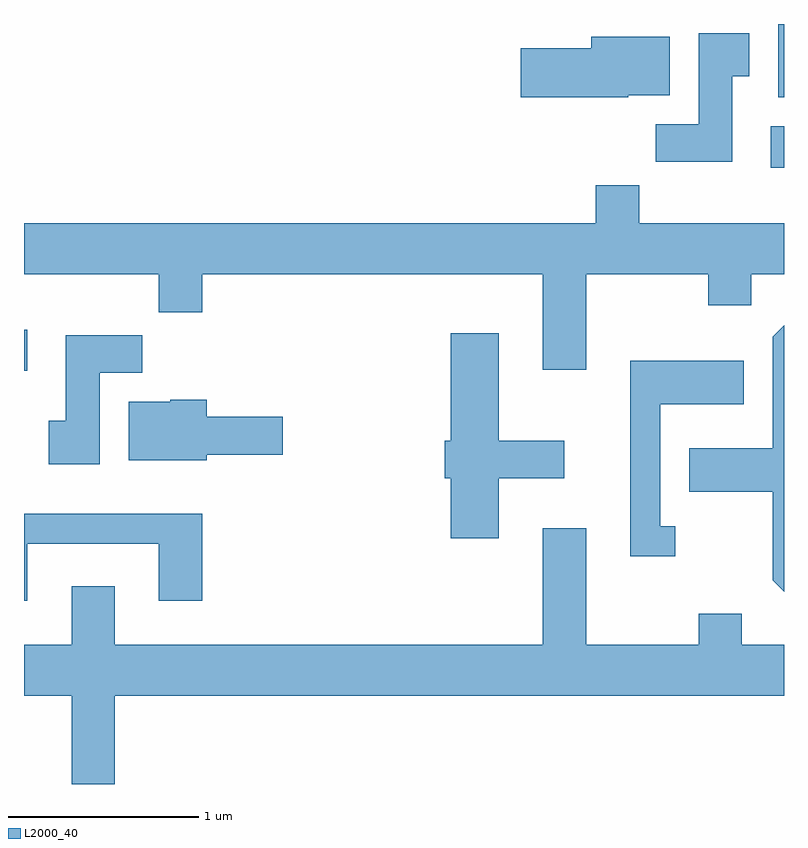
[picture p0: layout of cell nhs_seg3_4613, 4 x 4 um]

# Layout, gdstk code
import gdstk
lib = gdstk.Library(unit=1e-6, precision=1e-09)
def R(c, l, rs):  # rectangles x0, y0, x1, y1
    for r in rs: c.add(gdstk.rectangle(r[:2], r[2:], *l))
def P(c, l, *ps):  # polygons
    for p in ps: c.add(gdstk.Polygon(p, *l))
L2000_40 = (2000, 40)

nhs_seg3_4613 = lib.new_cell('nhs_seg3_4613')
R(nhs_seg3_4613, L2000_40, [(319.611,1232.066,319.629,1232.284), (323.541,1233.136,323.611,1233.354), (323.581,1233.506,323.611,1233.892)])
P(nhs_seg3_4613, L2000_40, [(323.339,1233.616),(323.429,1233.616),(323.429,1233.844),(323.161,1233.844),(323.161,1233.364),(322.936,1233.364),(322.936,1233.166),(323.339,1233.166)],
  [(322.79,1233.516),(323.009,1233.516),(323.009,1233.824),(322.596,1233.824),(322.596,1233.764),(322.226,1233.764),(322.226,1233.506),(322.79,1233.506)],
  [(322.569,1232.576),(323.211,1232.576),(323.211,1232.411),(323.439,1232.411),(323.439,1232.576),(323.611,1232.576),(323.611,1232.844),(322.849,1232.844),(322.849,1233.044),(322.621,1233.044),(322.621,1232.844),(319.611,1232.844),(319.611,1232.576),(320.321,1232.576),(320.321,1232.376),(320.549,1232.376),(320.549,1232.576),(322.341,1232.576),(322.341,1232.071),(322.569,1232.071)],
  [(323.611,1232.307),(323.551,1232.247),(323.551,1231.659),(323.111,1231.659),(323.111,1231.431),(323.551,1231.431),(323.551,1230.964),(323.611,1230.904)],
  [(322.109,1231.501),(322.454,1231.501),(322.454,1231.699),(322.109,1231.699),(322.109,1232.264),(321.856,1232.264),(321.856,1231.699),(321.826,1231.699),(321.826,1231.501),(321.856,1231.501),(321.856,1231.186),(322.109,1231.186)],
  [(320.009,1232.056),(320.234,1232.056),(320.234,1232.254),(319.831,1232.254),(319.831,1231.804),(319.741,1231.804),(319.741,1231.576),(320.009,1231.576)],
  [(323.038,1231.249),(322.959,1231.249),(322.959,1231.891),(323.399,1231.891),(323.399,1232.119),(322.801,1232.119),(322.801,1231.091),(323.038,1231.091)],
  [(320.574,1231.626),(320.974,1231.626),(320.974,1231.824),(320.574,1231.824),(320.574,1231.914),(320.38,1231.914),(320.38,1231.904),(320.161,1231.904),(320.161,1231.596),(320.574,1231.596)],
  [(319.629,1231.156),(320.321,1231.156),(320.321,1230.856),(320.549,1230.856),(320.549,1231.314),(319.611,1231.314),(319.611,1230.856),(319.629,1230.856)],
  [(320.089,1230.356),(323.611,1230.356),(323.611,1230.624),(323.389,1230.624),(323.389,1230.789),(323.161,1230.789),(323.161,1230.624),(322.569,1230.624),(322.569,1231.239),(322.341,1231.239),(322.341,1230.624),(320.089,1230.624),(320.089,1230.934),(319.861,1230.934),(319.861,1230.624),(319.611,1230.624),(319.611,1230.356),(319.861,1230.356),(319.861,1229.892),(320.089,1229.892)])

lib.write_gds('nhs_seg3_4613.gds')
